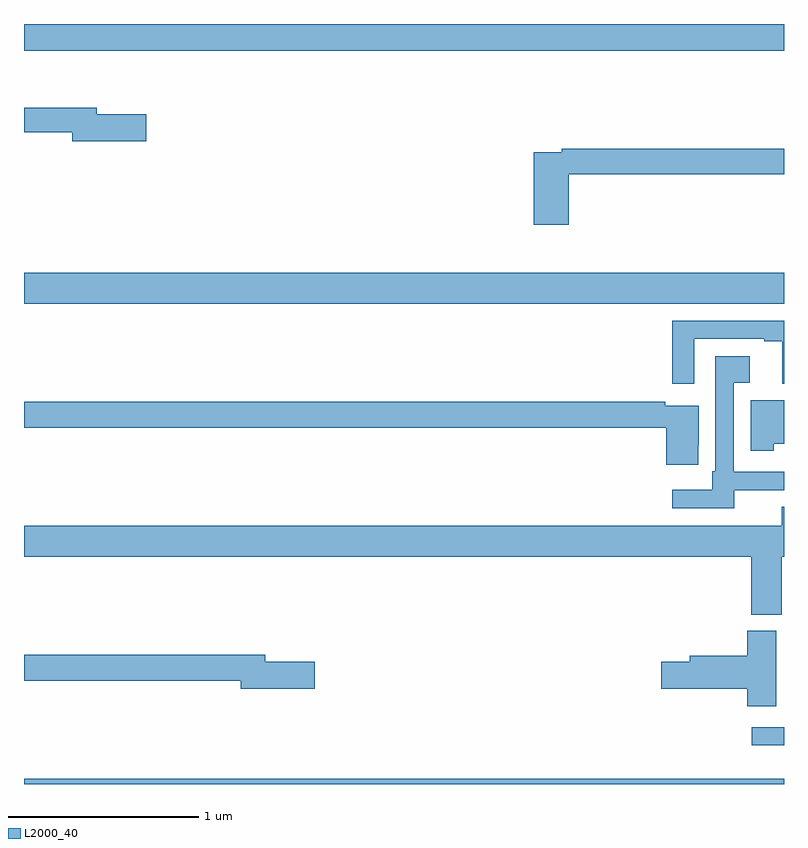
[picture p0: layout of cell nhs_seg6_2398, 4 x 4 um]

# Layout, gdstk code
import gdstk
lib = gdstk.Library(unit=1e-6, precision=1e-09)
def R(c, l, rs):  # rectangles x0, y0, x1, y1
    for r in rs: c.add(gdstk.rectangle(r[:2], r[2:], *l))
def P(c, l, *ps):  # polygons
    for p in ps: c.add(gdstk.Polygon(p, *l))
L2000_40 = (2000, 40)

nhs_seg6_2398 = lib.new_cell('nhs_seg6_2398')
R(nhs_seg6_2398, L2000_40, [(255,919.5,259,919.528), (258.831,919.703,259,919.8), (255,922.028,259,922.192), (255,923.36,259,923.5)])
P(nhs_seg6_2398, L2000_40, [(255.643,923.025),(255.382,923.025),(255.382,923.059),(255,923.059),(255,922.93),(255.254,922.93),(255.254,922.883),(255.643,922.883)],
  [(257.867,922.708),(259,922.708),(259,922.844),(257.83,922.844),(257.83,922.824),(257.684,922.824),(257.684,922.443),(257.867,922.443)],
  [(258.528,921.843),(258.896,921.843),(258.896,921.831),(258.992,921.831),(258.992,921.606),(259,921.606),(259,921.939),(258.412,921.939),(258.412,921.606),(258.528,921.606)],
  [(258.738,921.047),(259,921.047),(259,921.144),(258.735,921.144),(258.735,921.611),(258.82,921.611),(258.82,921.751),(258.639,921.751),(258.639,921.145),(258.623,921.145),(258.623,921.049),(258.411,921.049),(258.411,920.952),(258.738,920.952)],
  [(258.946,921.29),(259,921.29),(259,921.52),(258.824,921.52),(258.824,921.254),(258.946,921.254)],
  [(258.549,921.283),(258.55,921.283),(258.55,921.492),(258.374,921.492),(258.374,921.512),(255,921.512),(255,921.376),(258.38,921.376),(258.38,921.18),(258.549,921.18)],
  [(258.987,920.696),(259,920.696),(259,920.959),(258.989,920.959),(258.989,920.86),(255,920.86),(255,920.696),(258.827,920.696),(258.827,920.392),(258.987,920.392)],
  [(258.958,920.307),(258.806,920.307),(258.806,920.174),(258.503,920.174),(258.503,920.144),(258.354,920.144),(258.354,920.002),(258.806,920.002),(258.806,919.908),(258.958,919.908)],
  [(256.531,920.144),(256.27,920.144),(256.27,920.18),(255,920.18),(255,920.044),(256.142,920.044),(256.142,920.002),(256.531,920.002)])

lib.write_gds('nhs_seg6_2398.gds')
